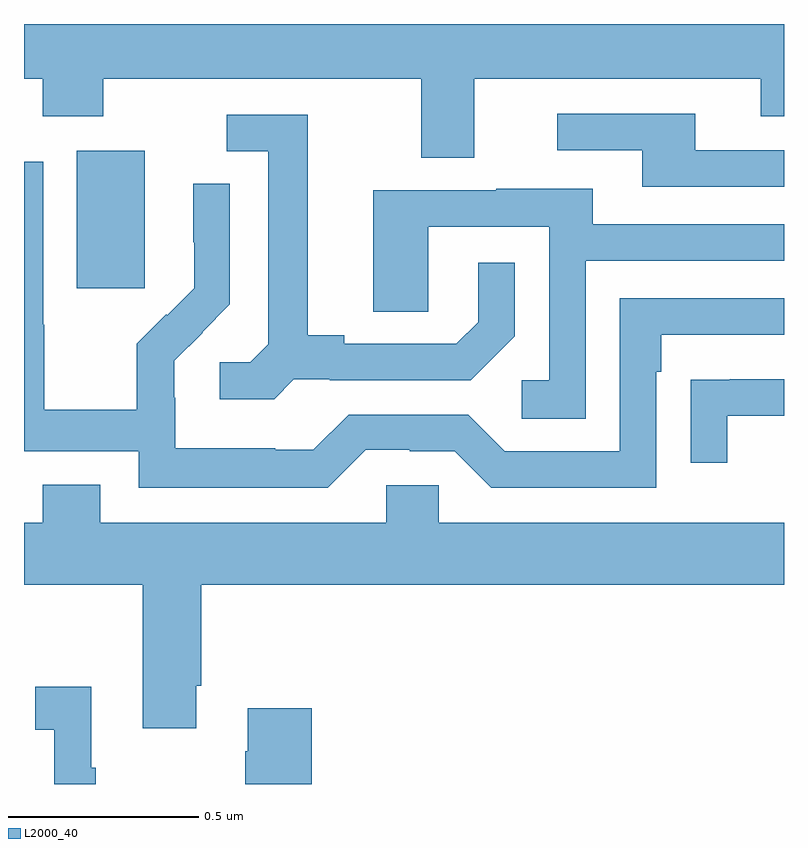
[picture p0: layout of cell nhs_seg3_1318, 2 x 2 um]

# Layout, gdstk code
import gdstk
lib = gdstk.Library(unit=1e-6, precision=1e-09)
def R(c, l, rs):  # rectangles x0, y0, x1, y1
    for r in rs: c.add(gdstk.rectangle(r[:2], r[2:], *l))
def P(c, l, *ps):  # polygons
    for p in ps: c.add(gdstk.Polygon(p, *l))
L2000_40 = (2000, 40)

nhs_seg3_1318 = lib.new_cell('nhs_seg3_1318')
R(nhs_seg3_1318, L2000_40, [(127.139,693.705,127.318,694.066)])
P(nhs_seg3_1318, L2000_40, [(128.185,694.256),(128.939,694.256),(128.939,694.157),(129,694.157),(129,694.4),(127,694.4),(127,694.256),(127.049,694.256),(127.049,694.157),(127.209,694.157),(127.209,694.256),(128.045,694.256),(128.045,694.048),(128.185,694.048)],
  [(129,694.068),(128.767,694.068),(128.767,694.164),(128.403,694.164),(128.403,694.068),(128.627,694.068),(128.627,693.972),(129,693.972)],
  [(127.71,693.465),(127.804,693.465),(127.804,693.462),(128.176,693.462),(128.292,693.578),(128.292,693.772),(128.195,693.772),(128.195,693.615),(128.138,693.558),(127.843,693.558),(127.843,693.581),(127.747,693.581),(127.747,694.161),(127.533,694.161),(127.533,694.065),(127.643,694.065),(127.643,693.557),(127.596,693.51),(127.515,693.51),(127.515,693.413),(127.658,693.413)],
  [(127.899,693.279),(128.015,693.279),(128.015,693.276),(128.133,693.276),(128.229,693.18),(128.664,693.18),(128.664,693.485),(128.677,693.485),(128.677,693.582),(129,693.582),(129,693.678),(128.568,693.678),(128.568,693.276),(128.265,693.276),(128.169,693.372),(127.854,693.372),(127.761,693.279),(127.661,693.279),(127.661,693.283),(127.398,693.283),(127.398,693.417),(127.396,693.417),(127.396,693.514),(127.47,693.588),(127.469,693.589),(127.542,693.662),(127.542,693.98),(127.446,693.98),(127.446,693.826),(127.448,693.826),(127.448,693.704),(127.377,693.633),(127.374,693.636),(127.297,693.559),(127.297,693.385),(127.053,693.385),(127.053,693.608),(127.05,693.608),(127.05,694.038),(127,694.038),(127,693.276),(127.302,693.276),(127.302,693.179),(127.799,693.179)],
  [(128.478,693.777),(129,693.777),(129,693.873),(128.497,693.873),(128.497,693.967),(128.243,693.967),(128.243,693.963),(127.919,693.963),(127.919,693.643),(128.064,693.643),(128.064,693.867),(128.382,693.867),(128.382,693.462),(128.31,693.462),(128.31,693.361),(128.478,693.361)],
  [(128.851,693.369),(129,693.369),(129,693.465),(128.857,693.465),(128.857,693.464),(128.755,693.464),(128.755,693.246),(128.851,693.246)],
  [(127.453,692.659),(127.466,692.659),(127.466,692.924),(129,692.924),(129,693.088),(128.091,693.088),(128.091,693.186),(127.953,693.186),(127.953,693.088),(127.201,693.088),(127.201,693.187),(127.049,693.187),(127.049,693.088),(127,693.088),(127,692.924),(127.313,692.924),(127.313,692.547),(127.453,692.547)],
  [(127.189,692.443),(127.177,692.443),(127.177,692.656),(127.029,692.656),(127.029,692.543),(127.08,692.543),(127.08,692.4),(127.189,692.4)],
  [(127.757,692.599),(127.589,692.599),(127.589,692.486),(127.582,692.486),(127.582,692.4),(127.757,692.4)])

lib.write_gds('nhs_seg3_1318.gds')
